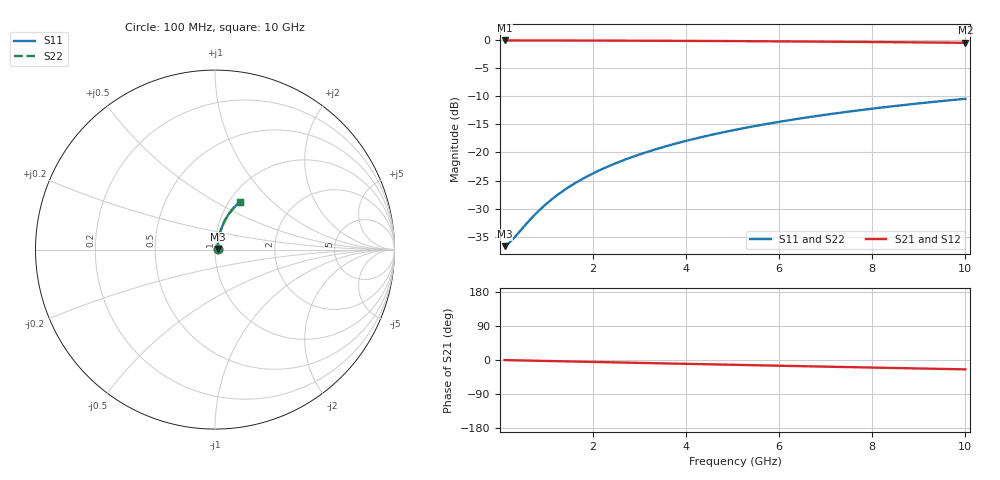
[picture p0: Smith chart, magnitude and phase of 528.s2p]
# Hz S RI R 50.00
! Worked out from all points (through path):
!   100 points, 100 MHz to 10 GHz, reference 50 ohm
!   highest |S21| = -0.13 dB at 100 MHz (marker M1); lowest = -0.5 dB at 10 GHz (marker M2)
!   group delay of S21, straight-line fit = 6.88 ps
!   lowest |S11| = -36.7 dB at 100 MHz (marker M3), VSWR 1.03, Z = 51.5 + j0.32 ohm
!   |S11| at or under -10 dB: start of sweep to end of sweep
!   |S22| runs from -36.7 to -10.5 dB; largest |S21 - S12| = 0
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1e8  0.0144 0.00311  0.9856 -0.00438  0.9856 -0.00438  0.0144 0.00311
2e8  0.0145 0.00622  0.9855 -0.00875  0.9855 -0.00875  0.0145 0.00622
3e8  0.0146 0.00933  0.9853 -0.0131  0.9853 -0.0131  0.0146 0.00933
7e8  0.0154 0.0218  0.9846 -0.0306  0.9846 -0.0306  0.0154 0.0218
8e8  0.0156 0.0249  0.9843 -0.035  0.9843 -0.035  0.0156 0.0249
1e9  0.0162 0.031  0.9837 -0.0437  0.9837 -0.0437  0.0162 0.031
1.2e9  0.0168 0.0372  0.983 -0.0524  0.983 -0.0524  0.0168 0.0372
1.4e9  0.0176 0.0434  0.9822 -0.0611  0.9822 -0.0611  0.0176 0.0434
1.6e9  0.0185 0.0495  0.9813 -0.0698  0.9813 -0.0698  0.0185 0.0495
1.8e9  0.0194 0.0557  0.9803 -0.0784  0.9803 -0.0784  0.0194 0.0557
2.1e9  0.0211 0.0648  0.9785 -0.0914  0.9785 -0.0914  0.0211 0.0648
2.5e9  0.0237 0.0769  0.9758 -0.1085  0.9758 -0.1085  0.0237 0.0769
2.9e9  0.0267 0.0889  0.9726 -0.1256  0.9726 -0.1256  0.0267 0.0889
3.4e9  0.031 0.1037  0.9681 -0.1467  0.9681 -0.1467  0.031 0.1037
3.8e9  0.0349 0.1153  0.9639 -0.1634  0.9639 -0.1634  0.0349 0.1153
4.2e9  0.0392 0.1268  0.9594 -0.18  0.9594 -0.18  0.0392 0.1268
5.1e9  0.0502 0.1519  0.9476 -0.2165  0.9476 -0.2165  0.0502 0.1519
5.9e9  0.0616 0.1732  0.9355 -0.248  0.9355 -0.248  0.0616 0.1732
6.7e9  0.0742 0.1936  0.922 -0.2786  0.922 -0.2786  0.0742 0.1936
7.5e9  0.0882 0.2128  0.9072 -0.3081  0.9072 -0.3081  0.0882 0.2128
8.4e9  0.1051 0.2331  0.889 -0.3399  0.889 -0.3399  0.1051 0.2331
1e10  0.1383 0.2652  0.8534 -0.3926  0.8534 -0.3926  0.1383 0.2652
